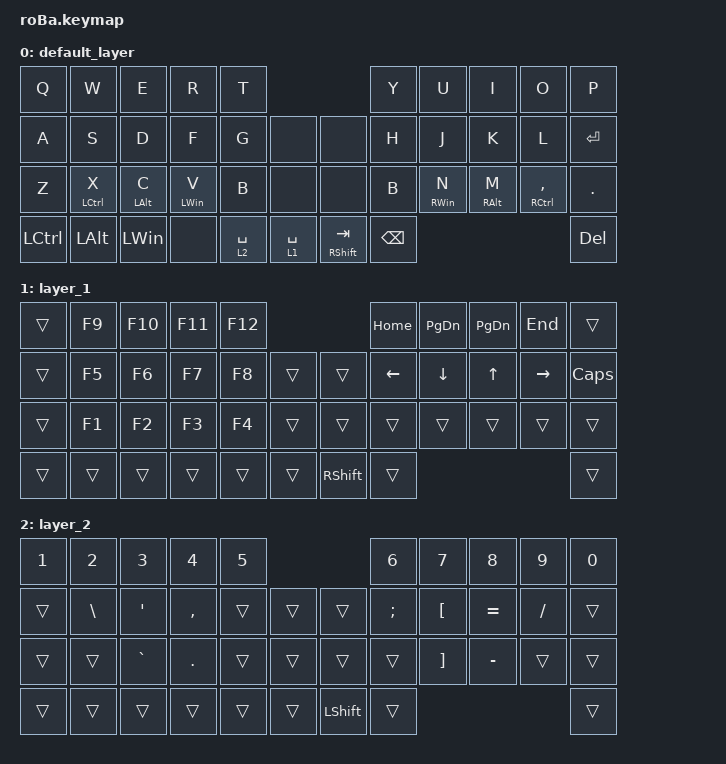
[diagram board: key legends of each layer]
#include <behaviors.dtsi>
#include <dt-bindings/zmk/keys.h>
#include <dt-bindings/zmk/mouse.h>

#define MOUSE 4
#define SCROLL 5
#define NUM 6

&mt {
    flavor = "balanced";
    quick-tap-ms = <0>;
};

/ {
    combos {
        compatible = "zmk,combos";

        esc {
            bindings = <&kp ESCAPE>;
            key-positions = <12 13>;
        };

        left_click {
            bindings = <&mkp LCLK>;
            key-positions = <18 19>;
        };

        right_click {
            bindings = <&mkp RCLK>;
            key-positions = <19 20>;
        };
    };

    macros {
        to_layer_0: to_layer_0 {
            compatible = "zmk,behavior-macro-one-param";
            #binding-cells = <1>;
            bindings = <&to 0 &macro_param_1to1 &kp MACRO_PLACEHOLDER>;
            label = "TO_LAYER_0";
        };
    };

    behaviors {
        lt_to_layer_0: lt_to_layer_0 {
            compatible = "zmk,behavior-hold-tap";
            label = "LAYER_TAP_TO_0";
            bindings = <&mo>, <&to_layer_0>;

            #binding-cells = <2>;
            tapping-term-ms = <200>;
        };
    };

    keymap {
        compatible = "zmk,keymap";

        default_layer {
            bindings = <
&kp Q      &kp W         &kp E           &kp R           &kp T                                            &kp Y          &kp U            &kp I            &kp O            &kp P
&kp A      &kp S         &kp D           &kp F           &kp G        &none          &none                &kp H          &kp J            &kp K            &kp L            &kp ENTER
&kp Z      &mt LCTRL X   &mt LEFT_ALT C  &mt LEFT_WIN V  &kp B        &none          &none                &kp B          &mt RIGHT_WIN N  &mt RIGHT_ALT M  &mt RCTRL COMMA  &kp PERIOD
&kp LCTRL  &kp LEFT_ALT  &kp LEFT_WIN    &none           &lt 2 SPACE  &lt 1 SPACE    &mt RIGHT_SHIFT TAB  &kp BACKSPACE                                                     &kp DEL
            >;
        };

        layer_1 {
            bindings = <
&trans  &kp F9  &kp F10  &kp F11  &kp F12                       &kp HOME  &kp PAGE_DOWN  &kp PAGE_DOWN  &kp END    &trans
&trans  &kp F5  &kp F6   &kp F7   &kp F8   &trans    &trans     &kp LEFT  &kp DOWN       &kp UP         &kp RIGHT  &kp CAPS
&trans  &kp F1  &kp F2   &kp F3   &kp F4   &trans    &trans     &trans    &trans         &trans         &trans     &trans
&trans  &trans  &trans   &trans   &trans   &trans    &kp RSHFT  &trans                                             &trans
            >;
        };

        layer_2 {
            bindings = <
&kp N1  &kp N2    &kp N3     &kp N4     &kp N5                       &kp N6    &kp N7    &kp N8     &kp N9    &kp N0
&trans  &kp BSLH  &kp APOS   &kp COMMA  &trans  &trans    &trans     &kp SEMI  &kp LBKT  &kp EQUAL  &kp FSLH  &trans
&trans  &trans    &kp GRAVE  &kp DOT    &trans  &trans    &trans     &trans    &kp RBKT  &kp MINUS  &trans    &trans
&trans  &trans    &trans     &trans     &trans  &trans    &kp LSHFT  &trans                                   &trans
            >;
        };
    };
};
